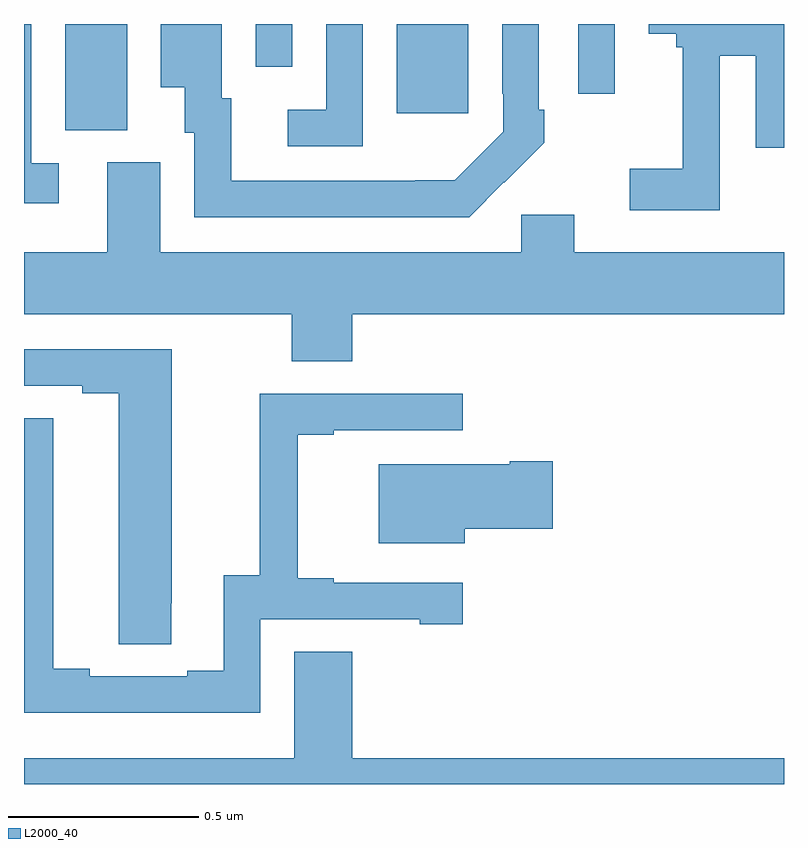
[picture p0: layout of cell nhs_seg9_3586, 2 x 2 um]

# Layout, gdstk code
import gdstk
lib = gdstk.Library(unit=1e-6, precision=1e-09)
def R(c, l, rs):  # rectangles x0, y0, x1, y1
    for r in rs: c.add(gdstk.rectangle(r[:2], r[2:], *l))
def P(c, l, *ps):  # polygons
    for p in ps: c.add(gdstk.Polygon(p, *l))
L2000_40 = (2000, 40)

nhs_seg9_3586 = lib.new_cell('nhs_seg9_3586')
R(nhs_seg9_3586, L2000_40, [(155.108,1214.221,155.272,1214.5), (155.981,1214.265,156.169,1214.5), (156.459,1214.316,156.555,1214.5), (155.61,1214.388,155.706,1214.5)])
P(nhs_seg9_3586, L2000_40, [(156.831,1214.416),(156.926,1214.416),(156.926,1214.175),(157,1214.175),(157,1214.5),(156.644,1214.5),(156.644,1214.474),(156.716,1214.474),(156.716,1214.439),(156.734,1214.439),(156.734,1214.119),(156.594,1214.119),(156.594,1214.01),(156.831,1214.01)],
  [(155.092,1214.133),(155.019,1214.133),(155.019,1214.5),(155,1214.5),(155,1214.028),(155.092,1214.028)],
  [(155.892,1214.5),(155.796,1214.5),(155.796,1214.274),(155.694,1214.274),(155.694,1214.178),(155.892,1214.178)],
  [(156.263,1214.083),(156.264,1214.082),(156.369,1214.187),(156.369,1214.275),(156.354,1214.275),(156.354,1214.5),(156.258,1214.5),(156.258,1214.317),(156.261,1214.317),(156.261,1214.217),(156.133,1214.089),(156.029,1214.089),(156.029,1214.088),(155.545,1214.088),(155.545,1214.304),(155.521,1214.304),(155.521,1214.5),(155.36,1214.5),(155.36,1214.333),(155.423,1214.333),(155.423,1214.214),(155.448,1214.214),(155.448,1213.992),(156.172,1213.992)],
  [(155.864,1213.736),(157,1213.736),(157,1213.9),(156.448,1213.9),(156.448,1213.998),(156.309,1213.998),(156.309,1213.9),(155.359,1213.9),(155.359,1214.136),(155.219,1214.136),(155.219,1213.9),(155,1213.9),(155,1213.736),(155.704,1213.736),(155.704,1213.612),(155.864,1213.612)],
  [(155.388,1212.976),(155.389,1212.976),(155.389,1213.644),(155,1213.644),(155,1213.548),(155.153,1213.548),(155.153,1213.528),(155.249,1213.528),(155.249,1212.868),(155.388,1212.868)],
  [(155.622,1212.933),(156.041,1212.933),(156.041,1212.921),(156.154,1212.921),(156.154,1213.029),(155.815,1213.029),(155.815,1213.042),(155.72,1213.042),(155.72,1213.419),(155.815,1213.419),(155.815,1213.431),(156.154,1213.431),(156.154,1213.527),(155.62,1213.527),(155.62,1213.049),(155.525,1213.049),(155.525,1212.798),(155.429,1212.798),(155.429,1212.783),(155.173,1212.783),(155.173,1212.803),(155.077,1212.803),(155.077,1213.463),(155,1213.463),(155,1212.687),(155.622,1212.687)],
  [(156.16,1213.172),(156.391,1213.172),(156.391,1213.35),(156.278,1213.35),(156.278,1213.342),(155.933,1213.342),(155.933,1213.133),(156.16,1213.133)],
  [(157,1212.568),(155.864,1212.568),(155.864,1212.848),(155.711,1212.848),(155.711,1212.568),(155,1212.568),(155,1212.5),(157,1212.5)])

lib.write_gds('nhs_seg9_3586.gds')
